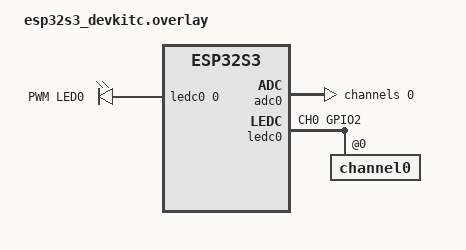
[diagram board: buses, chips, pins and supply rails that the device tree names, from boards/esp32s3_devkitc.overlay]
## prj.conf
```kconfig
CONFIG_ADC=y
# CONFIG_LED is not set
CONFIG_LED=y
CONFIG_LED_INIT_PRIORITY=90
CONFIG_LED_PWM=y
# CONFIG_PWM is not set
CONFIG_PWM=y
CONFIG_PWM_INIT_PRIORITY=50
# CONFIG_PWM_CAPTURE is not set
CONFIG_PWM_LED_ESP32=y
CONFIG_PWM_TC_INIT_PRIORITY=50
CONFIG_PICOLIBC_IO_FLOAT=y
# CONFIG_PICOLIBC_IO_LONG_LONG is not set
```

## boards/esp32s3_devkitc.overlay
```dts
#include <zephyr/dt-bindings/pwm/pwm.h>

/{
    aliases {
        my-adc = &adc0;
        my-adc-channel = &adc0_ch0;
        pwm-0 = &ledc0;
		pwm-led0 = &pwm_led_blue;
    };

    pwmleds {
		compatible = "pwm-leds";
		pwm_led_blue: pwm_led_gpio0_2 {
			label = "PWM LED0";
			pwms = <&ledc0 0 1000 PWM_POLARITY_NORMAL>;
		};
	};
};

// ADC1 (adc0) channel 0 is connected to GPIO1
&adc0 {
    status = "okay";
    #address-cells = <1>;
    #size-cells = <0>;

    adc0_ch0: channel@0 {
        reg = <0>;
        zephyr,gain = "ADC_GAIN_1_4";
        zephyr,reference = "ADC_REF_INTERNAL";
        zephyr,vref-mv = <3894>;
        zephyr,acquisition-time = <ADC_ACQ_TIME_DEFAULT>;
        zephyr,resolution = <12>;
    };
};

&pinctrl {
	ledc0_default: ledc0_default {
		group1 {
			pinmux = <LEDC_CH0_GPIO2>;
			output-enable;
		};
	};
};

&ledc0 {
	pinctrl-0 = <&ledc0_default>;
	pinctrl-names = "default";
	status = "okay";
	#address-cells = <1>;
	#size-cells = <0>;
	channel0@0 {
		reg = <0x0>;
		timer = <0>;
	};
};
```

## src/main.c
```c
#include <stdio.h>
#include <zephyr/kernel.h>
#include <zephyr/drivers/adc.h>
#include <zephyr/drivers/pwm.h>
#include <zephyr/sys/printk.h>

#define MY_ADC_CH DT_ALIAS(my_adc_channel)
// Settings
static const int32_t sleep_time_ms = 100;

// Get Devicetree configurations
static const struct device *adc = DEVICE_DT_GET(DT_ALIAS(my_adc));
static const struct adc_channel_cfg adc_ch = ADC_CHANNEL_CFG_DT(MY_ADC_CH);
static const struct pwm_dt_spec pwm_led0 = PWM_DT_SPEC_GET(DT_ALIAS(pwm_led0));

int main(void)
{
    int ret;
    // ADC
    uint16_t buf;
    int32_t vref_mv;

    // Get Vref (mV) from Devicetree property
    // zephyr_vref_mv is a symbol that the preprocessor handles when expanding the macro
    vref_mv = DT_PROP(MY_ADC_CH, zephyr_vref_mv);

    // Buffer and options for ADC (defined in adc.h)
    struct adc_sequence seq = {
        .channels = BIT(adc_ch.channel_id),
        .buffer = &buf,
        .buffer_size = sizeof(buf),
        .resolution = DT_PROP(MY_ADC_CH, zephyr_resolution)
    };

    // Make sure that the ADC was initialized
    if (!device_is_ready(adc)) {
        printk("ADC peripheral is not ready\r\n");
        return 0;
    }

    // Configure ADC channel
    ret = adc_channel_setup(adc, &adc_ch);
    if (ret < 0) {
        printk("Could not set up ADC\r\n");
        return 0;
    }

    // Make sure that the PWM was initialized
    if (!pwm_is_ready_dt(&pwm_led0)) {
        printk("Error: PWM device %s is not ready\n",
                pwm_led0.dev->name);
        return 0;
	}

    while (1) {

        // Sample ADC
        ret = adc_read(adc, &seq);
        if (ret < 0) {
            printk("Could not read ADC: %d\r\n", ret);
            continue;
        }
       // This is mapping the ADC measurement to the total period of the LED PWM
       // (ADCread / ADCmax) * PWMperiod
       // PWMperiod (pwm_led0.period) corresponds to the max value for pulse width
       // ADCmax (1 << resolution) is the resolution of the ADC (2^resolution)
       // ADCread (buf) is the actual ADC measurement
		uint32_t pulse_ns = pwm_led0.period / ((1 << seq.resolution) / (float)buf);

		// Set LED PWM pulse width
		ret = pwm_set_dt(&pwm_led0, pwm_led0.period, pulse_ns);
		if (ret) {
			printk("Error %d: failed to set pulse width\n", ret);
			return 0;
		}
        double pulse_percentage = ((double)pulse_ns / (double)pwm_led0.period) * 100.0;
        printk("Using pulse %d, %.2f%%\n", pulse_ns, pulse_percentage);

        // Sleep
        k_msleep(sleep_time_ms);
    }

    return 0;
}
```
